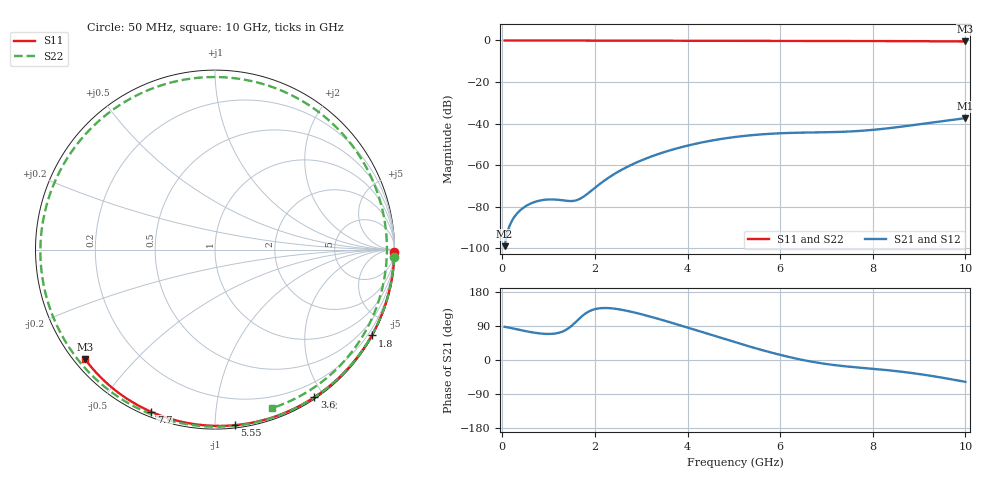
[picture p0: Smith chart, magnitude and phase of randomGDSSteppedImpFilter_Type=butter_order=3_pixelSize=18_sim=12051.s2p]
! freq	dB(S11)	phase(S11)	dB(S12)	phase(S12)
!  dB(S21)	phase(S21)	dB(S22)	phase(S22)
!S-par simulation data
#  GHz  S  DB  R 50
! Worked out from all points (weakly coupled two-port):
!   200 points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, 50 MHz to 10 GHz, reference 50 ohm
!   highest |S21| = -37.39 dB at 10 GHz (marker M1); lowest = -99.0 dB at 50 MHz (marker M2)
!   lowest |S11| = -0.5 dB at 10 GHz (marker M3), VSWR 36.86, Z = 1.54 - j18.3 ohm
!   |S11| at or under -10 dB: nowhere
!   |S22| runs from -0.6 to 0.0 dB; largest |S21 - S12| = 0
!   S11 on the Smith chart (normalised r, x): 50 MHz: open; 1.8 GHz: 0.03, -3.91; 3.6 GHz: 0.02, -1.88; 5.55 GHz: 0.02, -1.12; 7.7 GHz: 0.02, -0.68; 10 GHz: 0.03, -0.37
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0.05  -0.00 -0.8  -99.01 87.6  -99.01 87.6  -0.01 -2.2
0.5  -0.01 -8.1  -79.84 76.2  -79.84 76.2  -0.02 -21.9
0.8  -0.01 -12.9  -77.11 70.3  -77.11 70.3  -0.04 -34.9
1.5  -0.03 -24.0  -77.28 90.5  -77.28 90.5  -0.08 -65.1
1.75  -0.04 -27.9  -75.25 118.5  -75.25 118.5  -0.10 -75.8
1.8  -0.04 -28.7  -74.47 123.0  -74.47 123.0  -0.10 -78.0
2.2  -0.04 -34.9  -67.52 137.2  -67.52 137.2  -0.12 -95.2
2.6  -0.05 -41.0  -61.97 132.0  -61.97 132.0  -0.14 -112.5
3.4  -0.07 -53.1  -54.43 107.5  -54.43 107.5  -0.19 -147.8
3.6  -0.08 -56.0  -53.02 100.3  -53.02 100.3  -0.20 -156.8
4  -0.09 -61.8  -50.62 85.6  -50.62 85.6  -0.23 -175.4
4.35  -0.10 -66.9  -48.90 72.4  -48.90 72.4  -0.26 167.9
4.7  -0.11 -71.8  -47.50 59.2  -47.50 59.2  -0.28 150.8
5.05  -0.12 -76.7  -46.39 46.1  -46.39 46.1  -0.30 133.2
5.55  -0.14 -83.5  -45.27 28.2  -45.27 28.2  -0.33 107.6
6.1  -0.16 -90.9  -44.58 10.6  -44.58 10.6  -0.35 79.4
6.7  -0.19 -98.8  -44.28 -4.8  -44.28 -4.8  -0.36 49.6
7.2  -0.22 -105.2  -44.07 -13.9  -44.07 -13.9  -0.36 26.4
7.7  -0.25 -111.5  -43.57 -20.0  -43.57 -20.0  -0.37 5.0
8.35  -0.31 -119.6  -42.22 -27.2  -42.22 -27.2  -0.40 -19.9
9.15  -0.38 -129.4  -39.92 -39.7  -39.92 -39.7  -0.45 -46.3
10  -0.47 -139.7  -37.39 -57.7  -37.39 -57.7  -0.55 -70.3
